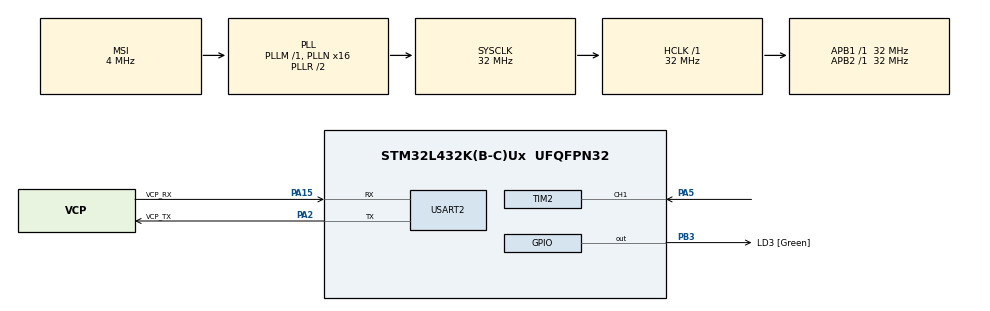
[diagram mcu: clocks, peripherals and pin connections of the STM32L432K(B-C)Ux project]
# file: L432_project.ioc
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ADC1.Channel-1\#ChannelRegularConversion=ADC_CHANNEL_TEMPSENSOR
ADC1.Channel-2\#ChannelRegularConversion=ADC_CHANNEL_VREFINT
ADC1.NbrOfConversion=2
ADC1.NbrOfConversionFlag=1
ADC1.OffsetNumber-1\#ChannelRegularConversion=ADC_OFFSET_NONE
ADC1.OffsetNumber-2\#ChannelRegularConversion=ADC_OFFSET_NONE
ADC1.Rank-1\#ChannelRegularConversion=1
ADC1.Rank-2\#ChannelRegularConversion=2
ADC1.SamplingTime-1\#ChannelRegularConversion=ADC_SAMPLETIME_640CYCLES_5
ADC1.SamplingTime-2\#ChannelRegularConversion=ADC_SAMPLETIME_640CYCLES_5
ADC1.master=1
Mcu.Family=STM32L4
Mcu.Name=STM32L432K(B-C)Ux
Mcu.Package=UFQFPN32
NVIC.ADC1_IRQn=true\:0\:0\:false\:false\:true\:true\:true\:true
NVIC.PriorityGroup=NVIC_PRIORITYGROUP_4
NVIC.RTC_Alarm_IRQn=true\:0\:0\:false\:false\:true\:true\:true\:true
NVIC.TIM2_IRQn=true\:0\:0\:false\:false\:true\:true\:true\:true
NVIC.USART2_IRQn=true\:0\:0\:false\:false\:true\:true\:true\:true
PA0.GPIO_Label=MCO [High speed clock in]
PA0.Mode=HSE-External-Clock-Source-for-LittleOrca
PA0.Signal=RCC_CK_IN
PA13\ (JTMS-SWDIO).GPIO_Label=SWDIO
PA13\ (JTMS-SWDIO).Mode=Serial_Wire
PA13\ (JTMS-SWDIO).Signal=SYS_JTMS-SWDIO
PA14\ (JTCK-SWCLK).GPIO_Label=SWCLK
PA14\ (JTCK-SWCLK).Mode=Serial_Wire
PA14\ (JTCK-SWCLK).Signal=SYS_JTCK-SWCLK
PA15\ (JTDI).GPIO_Label=VCP_RX
PA15\ (JTDI).Mode=Asynchronous
PA15\ (JTDI).Signal=USART2_RX
PA2.GPIO_Label=VCP_TX
PA2.Mode=Asynchronous
PA2.Signal=USART2_TX
PA5.Signal=S_TIM2_CH1
PB3\ (JTDO-TRACESWO).GPIO_Label=LD3 [Green]
PB3\ (JTDO-TRACESWO).Signal=GPIO_Output
PC14-OSC32_IN\ (PC14).Mode=LSE-External-Oscillator
PC14-OSC32_IN\ (PC14).Signal=RCC_OSC32_IN
PC15-OSC32_OUT\ (PC15).Mode=LSE-External-Oscillator
PC15-OSC32_OUT\ (PC15).Signal=RCC_OSC32_OUT
ProjectManager.HeapSize=0x200
ProjectManager.StackSize=0x400
ProjectManager.TargetToolchain=STM32CubeIDE
RCC.ADCFreq_Value=32000000
RCC.AHBFreq_Value=32000000
RCC.APB1Freq_Value=32000000
RCC.APB1TimFreq_Value=32000000
RCC.APB2Freq_Value=32000000
RCC.APB2TimFreq_Value=32000000
RCC.CortexFreq_Value=32000000
RCC.HCLKFreq_Value=32000000
RCC.HSE_VALUE=8000000
RCC.HSI16_VALUE=16000000
RCC.HSI48_VALUE=48000000
RCC.HSI_VALUE=16000000
RCC.MSI_VALUE=4000000
RCC.PLLMUL=RCC_PLLMUL_4
RCC.PLLN=16
RCC.PLLSAI1N=16
RCC.SYSCLKFreq_VALUE=32000000
RCC.SYSCLKSource=RCC_SYSCLKSOURCE_PLLCLK
RCC.USBFreq_Value=32000000
RCC.VCOOutputFreq_Value=64000000
RTC.Alarm=RTC_ALARM_A
RTC.AlarmMaskDateWeekDay=RTC_ALARMMASK_DATEWEEKDAY
RTC.AlarmMaskHours=RTC_ALARMMASK_HOURS
RTC.AlarmMaskMinutes=RTC_ALARMMASK_MINUTES
RTC.Seconds_A=30
SH.S_TIM2_CH1.0=TIM2_CH1,Input_Capture1_from_TI1
TIM2.Channel-Input_Capture1_from_TI1=TIM_CHANNEL_1
USART2.VirtualMode-Asynchronous=VM_ASYNC
VP_ADC1_TempSens_Input.Mode=IN-TempSens
VP_ADC1_Vref_Input.Mode=IN-Vrefint
VP_RTC_VS_RTC_Activate.Mode=RTC_Enabled
VP_RTC_VS_RTC_Alarm_A_Intern.Mode=Alarm A
VP_RTC_VS_RTC_Calendar.Mode=RTC_Calendar
board=NUCLEO-L432KC

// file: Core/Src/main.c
/* USER CODE BEGIN Header */
/**
 ******************************************************************************
 * @file           : main.c
 * @brief          : Main program body
 ******************************************************************************
 * @attention
 *
 * Copyright (c) 2024 STMicroelectronics.
 * All rights reserved.
 *
 * This software is licensed under terms that can be found in the LICENSE file
 * in the root directory of this software component.
 * If no LICENSE file comes with this software, it is provided AS-IS.
 *
 ******************************************************************************
 */
/* USER CODE END Header */
#include "main.h"

/* USER CODE BEGIN Includes */
#include <retarget.h>
#include <stdio.h>
#include <string.h>
#include <stm32l4xx_ll_usart.h>
#include <queue.h>
#include <command.h>
#include <flash.h>
/* USER CODE END Includes */

ADC_HandleTypeDef hadc1;

RTC_HandleTypeDef hrtc;

TIM_HandleTypeDef htim2;

UART_HandleTypeDef huart2;

/* USER CODE BEGIN PV */
queue_t buf;
uint8_t command[16]; // idk how big to make this
int command_length;
int alarm = 0;
volatile uint32_t period;
volatile float tsl237_clock_period;
volatile float tsl237_clock_frequency;
sensorval_t mySensors;
flash_status_t fs;
/* USER CODE END PV */

void SystemClock_Config(void);
static void MX_GPIO_Init(void);
static void MX_USART2_UART_Init(void);
static void MX_RTC_Init(void);
static void MX_TIM2_Init(void);
static void MX_ADC1_Init(void);

/* USER CODE BEGIN 0 */
//typedef struct sensorval {
//  uint32_t vdda_value;
//  uint32_t temperature;
//} sensorval_t;
uint32_t readsensor(sensorval_t *sensors) {
	uint32_t temp_raw;
	uint32_t vrefint_raw;

	if (!sensors) {
		return (-1);
	}
	HAL_ADCEx_Calibration_Start(&hadc1, ADC_SINGLE_ENDED);
	HAL_ADC_Start(&hadc1);
	HAL_ADC_PollForConversion(&hadc1, HAL_MAX_DELAY);
	temp_raw = HAL_ADC_GetValue(&hadc1);
	HAL_ADC_PollForConversion(&hadc1, HAL_MAX_DELAY);
	vrefint_raw = HAL_ADC_GetValue(&hadc1);
	HAL_ADC_Stop(&hadc1);
	sensors->vdda_value = __HAL_ADC_CALC_VREFANALOG_VOLTAGE(vrefint_raw,
			ADC_RESOLUTION_12B);
	sensors->temperature = __HAL_ADC_CALC_TEMPERATURE(sensors->vdda_value,
			temp_raw, ADC_RESOLUTION_12B);

	return (0);
}

void HAL_TIM_IC_CaptureCallback(TIM_HandleTypeDef *htim) {
	static uint32_t last = 0;
	uint32_t current;
	if (htim->Channel == HAL_TIM_ACTIVE_CHANNEL_1) {
		current = htim->Instance->CCR1;
		if (last <= current) {
			period = current - last;
		} else {
			period = TIM2->ARR - last + current;
		}
		last = current;
	}
}
/* USER CODE END 0 */

int main(void)
{
  /* USER CODE BEGIN 1 */
	init_queue(&buf);
	uint32_t captures[2];
  /* USER CODE END 1 */

  /* MCU Configuration--------------------------------------------------------*/

  /* Reset of all peripherals, Initializes the Flash interface and the Systick. */
  HAL_Init();

  /* Configure the system clock */
  SystemClock_Config();

  /* Initialize all configured peripherals */
  MX_GPIO_Init();
  MX_USART2_UART_Init();
  MX_RTC_Init();
  MX_TIM2_Init();
  MX_ADC1_Init();
  /* USER CODE BEGIN 2 */
	RetargetInit(&huart2);
	LL_USART_EnableIT_RXNE(USART2);    // Turn on the usart2 interrupt
	HAL_TIM_IC_Start_DMA(&htim2, TIM_CHANNEL_1, (uint32_t*) captures, 2);

  /* USER CODE END 2 */

  /* Infinite loop */
  /* USER CODE BEGIN WHILE */
	flash_erase();
	printf("System Up and Running\n\r");

  flash_write_init(&fs);
//  printf("Flash Total Records: %d\n\r",fs.total_records);
//	printf("Data: %d\n\r", (((sensordata_t*)(0x0803FFF0))->record_number));
	store_log_data(&fs, "start");

//	if (arguments) {
//				char *pt;
//				pt = strtok (arguments,",");
//				store_log_data(&fs, pt);
//			}
//		else {
//			store_log_data(&fs, "start");
//		}

	prompt();
	while (1) {
		HAL_Delay(100);
		readsensor(&mySensors);
		tsl237_clock_period = (1 / (float) SystemCoreClock) * (float) period;
		tsl237_clock_frequency = 1 / tsl237_clock_period;

		if (get_commands(command)) {
			command_length = 16;
			if (command_length != -1) {
				if (execute_command(command)) {
					printf("NOK\n\r");
					prompt();
				} else {
					printf("OK\n\r");
					prompt();
				}
			} else {
				printf("NOK\n\r");
				prompt();
			}
		}

		if (alarm) {
			printf("alarm_triggered\n\r");
			lon_command();
			HAL_Delay(100);
			lof_command();
			alarm = 0;
		}
    /* USER CODE END WHILE */

	}
}

void SystemClock_Config(void)
{
  RCC_OscInitTypeDef RCC_OscInitStruct = {0};
  RCC_ClkInitTypeDef RCC_ClkInitStruct = {0};

  /** Configure the main internal regulator output voltage
  */
  if (HAL_PWREx_ControlVoltageScaling(PWR_REGULATOR_VOLTAGE_SCALE1) != HAL_OK)
  {
    Error_Handler();
  }

  /** Configure LSE Drive Capability
  */
  HAL_PWR_EnableBkUpAccess();
  __HAL_RCC_LSEDRIVE_CONFIG(RCC_LSEDRIVE_LOW);

  /** Initializes the RCC Oscillators according to the specified parameters
  * in the RCC_OscInitTypeDef structure.
  */
  RCC_OscInitStruct.OscillatorType = RCC_OSCILLATORTYPE_LSI|RCC_OSCILLATORTYPE_LSE
                              |RCC_OSCILLATORTYPE_MSI;
  RCC_OscInitStruct.LSEState = RCC_LSE_ON;
  RCC_OscInitStruct.LSIState = RCC_LSI_ON;
  RCC_OscInitStruct.MSIState = RCC_MSI_ON;
  RCC_OscInitStruct.MSICalibrationValue = 0;
  RCC_OscInitStruct.MSIClockRange = RCC_MSIRANGE_6;
  RCC_OscInitStruct.PLL.PLLState = RCC_PLL_ON;
  RCC_OscInitStruct.PLL.PLLSource = RCC_PLLSOURCE_MSI;
  RCC_OscInitStruct.PLL.PLLM = 1;
  RCC_OscInitStruct.PLL.PLLN = 16;
  RCC_OscInitStruct.PLL.PLLP = RCC_PLLP_DIV7;
  RCC_OscInitStruct.PLL.PLLQ = RCC_PLLQ_DIV2;
  RCC_OscInitStruct.PLL.PLLR = RCC_PLLR_DIV2;
  if (HAL_RCC_OscConfig(&RCC_OscInitStruct) != HAL_OK)
  {
    Error_Handler();
  }

  /** Initializes the CPU, AHB and APB buses clocks
  */
  RCC_ClkInitStruct.ClockType = RCC_CLOCKTYPE_HCLK|RCC_CLOCKTYPE_SYSCLK
                              |RCC_CLOCKTYPE_PCLK1|RCC_CLOCKTYPE_PCLK2;
  RCC_ClkInitStruct.SYSCLKSource = RCC_SYSCLKSOURCE_PLLCLK;
  RCC_ClkInitStruct.AHBCLKDivider = RCC_SYSCLK_DIV1;
  RCC_ClkInitStruct.APB1CLKDivider = RCC_HCLK_DIV1;
  RCC_ClkInitStruct.APB2CLKDivider = RCC_HCLK_DIV1;

  if (HAL_RCC_ClockConfig(&RCC_ClkInitStruct, FLASH_LATENCY_1) != HAL_OK)
  {
    Error_Handler();
  }

  /** Enable MSI Auto calibration
  */
  HAL_RCCEx_EnableMSIPLLMode();
}

static void MX_ADC1_Init(void)
{

  ADC_ChannelConfTypeDef sConfig = {0};

  /** Common config
  */
  hadc1.Instance = ADC1;
  hadc1.Init.ClockPrescaler = ADC_CLOCK_ASYNC_DIV1;
  hadc1.Init.Resolution = ADC_RESOLUTION_12B;
  hadc1.Init.DataAlign = ADC_DATAALIGN_RIGHT;
  hadc1.Init.ScanConvMode = ADC_SCAN_ENABLE;
  hadc1.Init.EOCSelection = ADC_EOC_SINGLE_CONV;
  hadc1.Init.LowPowerAutoWait = DISABLE;
  hadc1.Init.ContinuousConvMode = DISABLE;
  hadc1.Init.NbrOfConversion = 2;
  hadc1.Init.DiscontinuousConvMode = DISABLE;
  hadc1.Init.ExternalTrigConv = ADC_SOFTWARE_START;
  hadc1.Init.ExternalTrigConvEdge = ADC_EXTERNALTRIGCONVEDGE_NONE;
  hadc1.Init.DMAContinuousRequests = DISABLE;
  hadc1.Init.Overrun = ADC_OVR_DATA_PRESERVED;
  hadc1.Init.OversamplingMode = DISABLE;
  if (HAL_ADC_Init(&hadc1) != HAL_OK)
  {
    Error_Handler();
  }

  /** Configure Regular Channel
  */
  sConfig.Channel = ADC_CHANNEL_TEMPSENSOR;
  sConfig.Rank = ADC_REGULAR_RANK_1;
  sConfig.SamplingTime = ADC_SAMPLETIME_640CYCLES_5;
  sConfig.SingleDiff = ADC_SINGLE_ENDED;
  sConfig.OffsetNumber = ADC_OFFSET_NONE;
  sConfig.Offset = 0;
  if (HAL_ADC_ConfigChannel(&hadc1, &sConfig) != HAL_OK)
  {
    Error_Handler();
  }

  /** Configure Regular Channel
  */
  sConfig.Channel = ADC_CHANNEL_VREFINT;
  sConfig.Rank = ADC_REGULAR_RANK_2;
  if (HAL_ADC_ConfigChannel(&hadc1, &sConfig) != HAL_OK)
  {
    Error_Handler();
  }

}

static void MX_RTC_Init(void)
{

  RTC_TimeTypeDef sTime = {0};
  RTC_DateTypeDef sDate = {0};
  RTC_AlarmTypeDef sAlarm = {0};

  /** Initialize RTC Only
  */
  hrtc.Instance = RTC;
  hrtc.Init.HourFormat = RTC_HOURFORMAT_24;
  hrtc.Init.AsynchPrediv = 127;
  hrtc.Init.SynchPrediv = 255;
  hrtc.Init.OutPut = RTC_OUTPUT_DISABLE;
  hrtc.Init.OutPutRemap = RTC_OUTPUT_REMAP_NONE;
  hrtc.Init.OutPutPolarity = RTC_OUTPUT_POLARITY_HIGH;
  hrtc.Init.OutPutType = RTC_OUTPUT_TYPE_OPENDRAIN;
  if (HAL_RTC_Init(&hrtc) != HAL_OK)
  {
    Error_Handler();
  }

  /** Initialize RTC and set the Time and Date
  */
  sTime.Hours = 0x0;
  sTime.Minutes = 0x0;
  sTime.Seconds = 0x0;
  sTime.DayLightSaving = RTC_DAYLIGHTSAVING_NONE;
  sTime.StoreOperation = RTC_STOREOPERATION_RESET;
  if (HAL_RTC_SetTime(&hrtc, &sTime, RTC_FORMAT_BCD) != HAL_OK)
  {
    Error_Handler();
  }
  sDate.WeekDay = RTC_WEEKDAY_MONDAY;
  sDate.Month = RTC_MONTH_JANUARY;
  sDate.Date = 0x1;
  sDate.Year = 0x0;

  if (HAL_RTC_SetDate(&hrtc, &sDate, RTC_FORMAT_BCD) != HAL_OK)
  {
    Error_Handler();
  }

  /** Enable the Alarm A
  */
  sAlarm.AlarmTime.Hours = 0x0;
  sAlarm.AlarmTime.Minutes = 0x0;
  sAlarm.AlarmTime.Seconds = 0x30;
  sAlarm.AlarmTime.SubSeconds = 0x0;
  sAlarm.AlarmTime.DayLightSaving = RTC_DAYLIGHTSAVING_NONE;
  sAlarm.AlarmTime.StoreOperation = RTC_STOREOPERATION_RESET;
  sAlarm.AlarmMask = RTC_ALARMMASK_DATEWEEKDAY|RTC_ALARMMASK_HOURS
                              |RTC_ALARMMASK_MINUTES;
  sAlarm.AlarmSubSecondMask = RTC_ALARMSUBSECONDMASK_ALL;
  sAlarm.AlarmDateWeekDaySel = RTC_ALARMDATEWEEKDAYSEL_DATE;
  sAlarm.AlarmDateWeekDay = 0x1;
  sAlarm.Alarm = RTC_ALARM_A;
  if (HAL_RTC_SetAlarm_IT(&hrtc, &sAlarm, RTC_FORMAT_BCD) != HAL_OK)
  {
    Error_Handler();
  }

}

static void MX_TIM2_Init(void)
{

  TIM_MasterConfigTypeDef sMasterConfig = {0};
  TIM_IC_InitTypeDef sConfigIC = {0};

  htim2.Instance = TIM2;
  htim2.Init.Prescaler = 0;
  htim2.Init.CounterMode = TIM_COUNTERMODE_UP;
  htim2.Init.Period = 4294967295;
  htim2.Init.ClockDivision = TIM_CLOCKDIVISION_DIV1;
  htim2.Init.AutoReloadPreload = TIM_AUTORELOAD_PRELOAD_DISABLE;
  if (HAL_TIM_IC_Init(&htim2) != HAL_OK)
  {
    Error_Handler();
  }
  sMasterConfig.MasterOutputTrigger = TIM_TRGO_RESET;
  sMasterConfig.MasterSlaveMode = TIM_MASTERSLAVEMODE_DISABLE;
  if (HAL_TIMEx_MasterConfigSynchronization(&htim2, &sMasterConfig) != HAL_OK)
  {
    Error_Handler();
  }
  sConfigIC.ICPolarity = TIM_INPUTCHANNELPOLARITY_RISING;
  sConfigIC.ICSelection = TIM_ICSELECTION_DIRECTTI;
  sConfigIC.ICPrescaler = TIM_ICPSC_DIV1;
  sConfigIC.ICFilter = 0;
  if (HAL_TIM_IC_ConfigChannel(&htim2, &sConfigIC, TIM_CHANNEL_1) != HAL_OK)
  {
    Error_Handler();
  }
  /* USER CODE BEGIN TIM2_Init 2 */
//  HAL_TIM_Base_Start_IT(&htim2);   // Turn on the IRQ in the timer
	HAL_TIM_IC_Start_IT(&htim2, TIM_CHANNEL_1);
  /* USER CODE END TIM2_Init 2 */

}

static void MX_USART2_UART_Init(void)
{

  huart2.Instance = USART2;
  huart2.Init.BaudRate = 115200;
  huart2.Init.WordLength = UART_WORDLENGTH_8B;
  huart2.Init.StopBits = UART_STOPBITS_1;
  huart2.Init.Parity = UART_PARITY_NONE;
  huart2.Init.Mode = UART_MODE_TX_RX;
  huart2.Init.HwFlowCtl = UART_HWCONTROL_NONE;
  huart2.Init.OverSampling = UART_OVERSAMPLING_16;
  huart2.Init.OneBitSampling = UART_ONE_BIT_SAMPLE_DISABLE;
  huart2.AdvancedInit.AdvFeatureInit = UART_ADVFEATURE_NO_INIT;
  if (HAL_UART_Init(&huart2) != HAL_OK)
  {
    Error_Handler();
  }

}

static void MX_GPIO_Init(void)
{
  GPIO_InitTypeDef GPIO_InitStruct = {0};

  /* GPIO Ports Clock Enable */
  __HAL_RCC_GPIOC_CLK_ENABLE();
  __HAL_RCC_GPIOA_CLK_ENABLE();
  __HAL_RCC_GPIOB_CLK_ENABLE();

  /*Configure GPIO pin Output Level */
  HAL_GPIO_WritePin(LD3_GPIO_Port, LD3_Pin, GPIO_PIN_RESET);

  /*Configure GPIO pin : LD3_Pin */
  GPIO_InitStruct.Pin = LD3_Pin;
  GPIO_InitStruct.Mode = GPIO_MODE_OUTPUT_PP;
  GPIO_InitStruct.Pull = GPIO_NOPULL;
  GPIO_InitStruct.Speed = GPIO_SPEED_FREQ_LOW;
  HAL_GPIO_Init(LD3_GPIO_Port, &GPIO_InitStruct);

}

void Error_Handler(void)
{
	__disable_irq();
	while (1) {
	}
}
